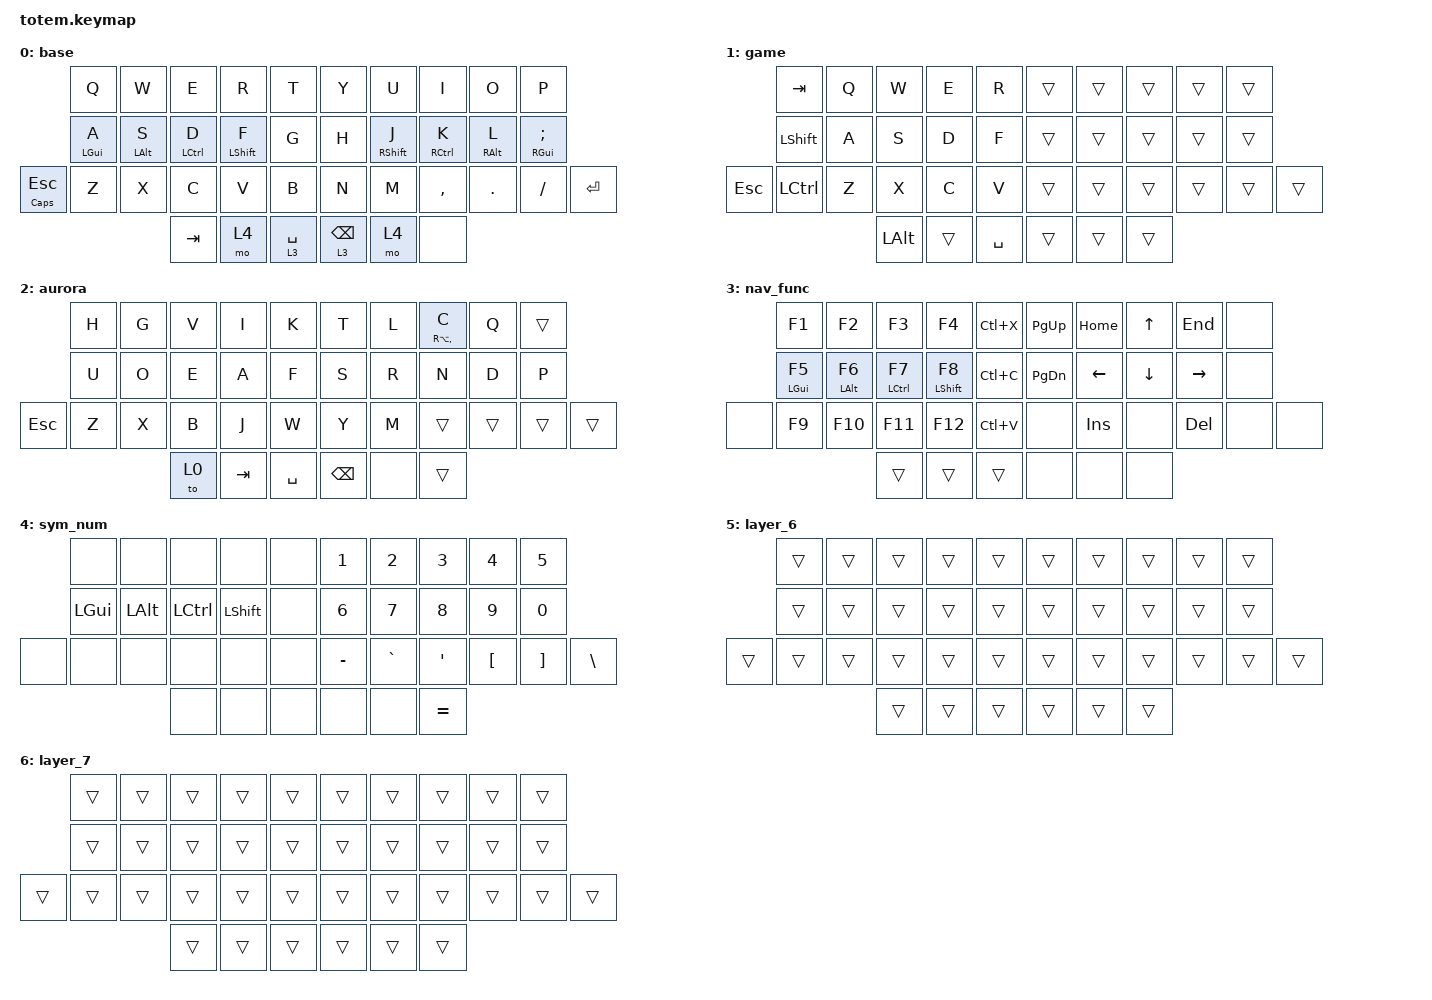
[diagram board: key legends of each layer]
//
//                                                        ▀▀▀▀▀     ▀▀▀▀▀          ▀▀█▀▀
//                                                        ▄▀▀▀▄  ▄  ▄▀▀▀▄  ▄  ▄▀▀▀▄  █  ▄▀▀▀▄
//                                                        █   █  █  █   █  █  █   █  █  █   █
//                                                         ▀▀▀   █   ▀▀▀   █   ▀▀▀   ▀   ▀▀▀
//                                                               █      ▄▄▄█▄▄▄    █   █  
//                                                               ▀      █  █  █     █▄█
//                                                             ▀▀▀▀▀    █  █  █      ▀
//                                                                      ▀  ▀  ▀
//
// ▄▄▄▄▄▄▄▄▄▄▄▄▄▄▄▄▄▄▄▄▄▄▄▄▄▄▄▄▄▄▄▄▄▄▄▄▄▄▄▄▄▄▄▄▄▄▄▄▄▄▄▄▄▄▄▄▄▄▄▄▄▄▄▄▄▄▄▄▄▄▄▄▄▄▄▄▄▄▄▄▄▄▄▄▄▄▄▄▄▄▄▄▄▄▄▄▄▄▄▄▄▄▄▄▄▄▄▄▄▄▄▄▄▄▄▄▄▄▄▄▄▄▄▄▄▄▄▄▄▄▄▄▄▄▄▄▄▄▄▄▄▄▄▄▄▄▄▄▄

#include <behaviors.dtsi>
#include <dt-bindings/zmk/keys.h>

/ {
    combos {
        compatible = "zmk,combos";

        enter {
            bindings = <&kp ENTER>;
            key-positions = <18 17 16 16 17 16 17 18>;
            layers = <0>;
        };
    };

    keymap {
        compatible = "zmk,keymap";

        base {
            bindings = <
                     &kp Q           &kp W           &kp E        &kp R             &kp T          &kp Y            &kp U              &kp I        &kp O            &kp P
                     &mt LEFT_GUI A  &mt LEFT_ALT S  &mt LCTRL D  &mt LEFT_SHIFT F  &kp G          &kp H            &mt RIGHT_SHIFT J  &mt RCTRL K  &mt RIGHT_ALT L  &mt RIGHT_GUI SEMI
&mt CAPSLOCK ESCAPE  &kp Z           &kp X           &kp C        &kp V             &kp B          &kp N            &kp M              &kp COMMA    &kp DOT          &kp FSLH            &kp ENTER
                                                     &kp TAB      &mo 4             &lt 3 SPACE    &lt 3 BACKSPACE  &mo 4              &none
            >;
        };

        game {
            bindings = <
         &kp TAB    &kp Q  &kp W     &kp E   &kp R        &trans  &trans  &trans  &trans  &trans
         &kp LSHFT  &kp A  &kp S     &kp D   &kp F        &trans  &trans  &trans  &trans  &trans
&kp ESC  &kp LCTRL  &kp Z  &kp X     &kp C   &kp V        &trans  &trans  &trans  &trans  &trans  &trans
                           &kp LALT  &trans  &kp SPACE    &trans  &trans  &trans
            >;
        };

        aurora {
            bindings = <
         &kp H  &kp G  &kp V  &kp I    &kp K        &kp T     &kp L  &mt RA(COMMA) C  &kp Q   &trans
         &kp U  &kp O  &kp E  &kp A    &kp F        &kp S     &kp R  &kp N            &kp D   &kp P
&kp ESC  &kp Z  &kp X  &kp B  &kp J    &kp W        &kp Y     &kp M  &trans           &trans  &trans  &trans
                       &to 0  &kp TAB  &kp SPACE    &kp BSPC  &none  &trans
            >;
        };

        nav_func {
            bindings = <
       &kp F1           &kp F2           &kp F3        &kp F4             &kp LC(X)    &kp PAGE_UP    &kp HOME        &kp UP_ARROW    &kp END          &none
       &mt LEFT_GUI F5  &mt LEFT_ALT F6  &mt LCTRL F7  &mt LEFT_SHIFT F8  &kp LC(C)    &kp PAGE_DOWN  &kp LEFT_ARROW  &kp DOWN_ARROW  &kp RIGHT_ARROW  &none
&none  &kp F9           &kp F10          &kp F11       &kp F12            &kp LC(V)    &none          &kp INS         &none           &kp DEL          &none  &none
                                         &trans        &trans             &trans       &none          &none           &none
            >;
        };

        sym_num {
            bindings = <
       &none     &none     &none      &none      &none    &kp N1     &kp N2     &kp N3     &kp N4    &kp N5
       &kp LGUI  &kp LALT  &kp LCTRL  &kp LSHFT  &none    &kp N6     &kp N7     &kp N8     &kp N9    &kp N0
&none  &none     &none     &none      &none      &none    &kp MINUS  &kp GRAVE  &kp APOS   &kp LBKT  &kp RBKT  &kp BSLH
                           &none      &none      &none    &none      &none      &kp EQUAL
            >;
        };

        layer_6 {
            bindings = <
        &trans  &trans  &trans  &trans  &trans    &trans  &trans  &trans  &trans  &trans
        &trans  &trans  &trans  &trans  &trans    &trans  &trans  &trans  &trans  &trans
&trans  &trans  &trans  &trans  &trans  &trans    &trans  &trans  &trans  &trans  &trans  &trans
                        &trans  &trans  &trans    &trans  &trans  &trans
            >;
        };

        layer_7 {
            bindings = <
        &trans  &trans  &trans  &trans  &trans    &trans  &trans  &trans  &trans  &trans
        &trans  &trans  &trans  &trans  &trans    &trans  &trans  &trans  &trans  &trans
&trans  &trans  &trans  &trans  &trans  &trans    &trans  &trans  &trans  &trans  &trans  &trans
                        &trans  &trans  &trans    &trans  &trans  &trans
            >;
        };
    };

    conditional_layers { compatible = "zmk,conditional-layers"; };
};
